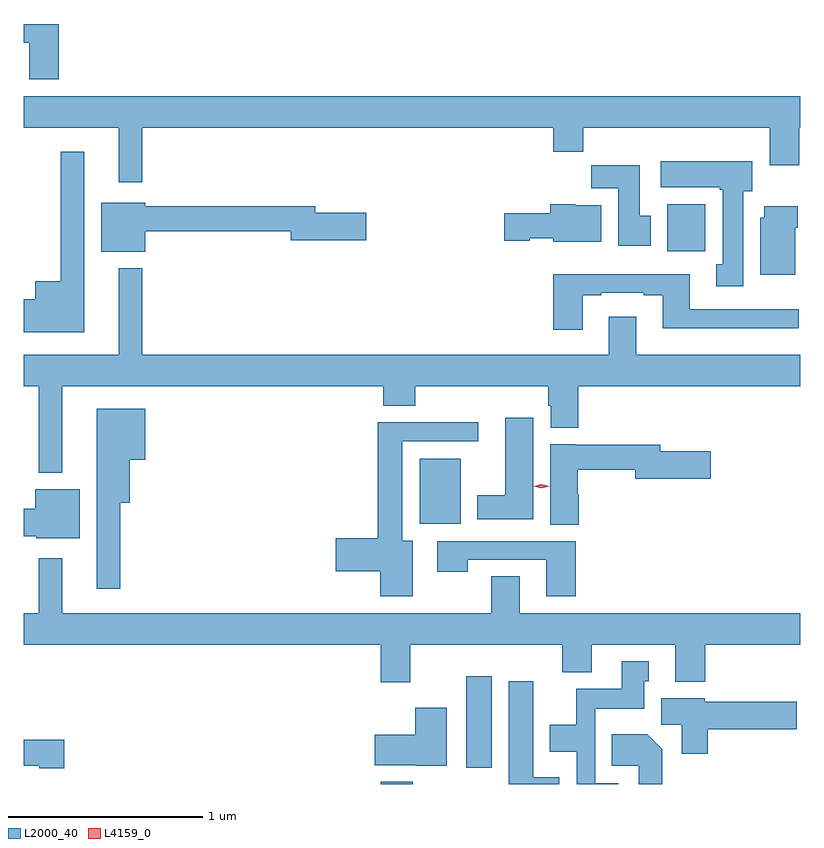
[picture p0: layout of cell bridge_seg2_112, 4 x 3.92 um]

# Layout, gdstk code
import gdstk
lib = gdstk.Library(unit=1e-6, precision=1e-09)
def R(c, l, rs):  # rectangles x0, y0, x1, y1
    for r in rs: c.add(gdstk.rectangle(r[:2], r[2:], *l))
def P(c, l, *ps):  # polygons
    for p in ps: c.add(gdstk.Polygon(p, *l))
L2000_40 = (2000, 40)
L4159_0 = (4159, 0)

bridge_seg2_112 = lib.new_cell('bridge_seg2_112')
R(bridge_seg2_112, L2000_40, [(590.495,637.595,590.66,637.606), (590.936,637.68,591.067,638.149), (590.696,638.936,590.908,639.271), (591.971,640.34,592.168,640.582)])
P(bridge_seg2_112, L2000_40, [(588.836,641.511),(588.656,641.511),(588.656,641.415),(588.683,641.415),(588.683,641.226),(588.836,641.226)],
  [(589.267,640.976),(591.383,640.976),(591.383,640.852),(591.539,640.852),(591.539,640.976),(592.499,640.976),(592.499,640.782),(592.652,640.782),(592.652,640.976),(592.656,640.976),(592.656,641.14),(588.656,641.14),(588.656,640.976),(589.145,640.976),(589.145,640.695),(589.267,640.695)],
  [(588.967,640.852),(588.846,640.852),(588.846,640.186),(588.716,640.186),(588.716,640.094),(588.656,640.094),(588.656,639.923),(588.967,639.923)],
  [(592.363,640.65),(592.408,640.65),(592.408,640.804),(591.939,640.804),(591.939,640.67),(592.243,640.67),(592.243,640.657),(592.256,640.657),(592.256,640.274),(592.223,640.274),(592.223,640.161),(592.363,640.161)],
  [(591.886,640.524),(591.829,640.524),(591.829,640.783),(591.58,640.783),(591.58,640.664),(591.719,640.664),(591.719,640.368),(591.886,640.368)],
  [(589.282,640.444),(590.03,640.444),(590.03,640.397),(590.419,640.397),(590.419,640.539),(590.158,640.539),(590.158,640.573),(589.282,640.573),(589.282,640.591),(589.055,640.591),(589.055,640.337),(589.282,640.337)],
  [(591.631,640.576),(591.498,640.576),(591.498,640.582),(591.368,640.582),(591.368,640.536),(591.132,640.536),(591.132,640.394),(591.264,640.394),(591.264,640.406),(591.384,640.406),(591.384,640.388),(591.631,640.388)],
  [(592.63,640.46),(592.643,640.46),(592.643,640.573),(592.472,640.573),(592.472,640.512),(592.451,640.512),(592.451,640.22),(592.63,640.22)],
  [(589.267,640.252),(589.145,640.252),(589.145,639.808),(588.656,639.808),(588.656,639.644),(588.732,639.644),(588.732,639.2),(588.853,639.2),(588.853,639.644),(590.507,639.644),(590.507,639.545),(590.672,639.545),(590.672,639.644),(591.359,639.644),(591.359,639.543),(591.371,639.543),(591.371,639.431),(591.512,639.431),(591.512,639.644),(592.656,639.644),(592.656,639.808),(591.811,639.808),(591.811,640.003),(591.671,640.003),(591.671,639.808),(589.267,639.808)],
  [(591.535,640.113),(591.631,640.113),(591.631,640.125),(591.851,640.125),(591.851,640.113),(591.947,640.113),(591.947,639.944),(592.648,639.944),(592.648,640.041),(592.087,640.041),(592.087,640.222),(591.383,640.222),(591.383,639.936),(591.535,639.936)],
  [(589.153,639.044),(589.202,639.044),(589.202,639.266),(589.282,639.266),(589.282,639.529),(589.031,639.529),(589.031,638.601),(589.153,638.601)],
  [(591.28,639.481),(591.137,639.481),(591.137,639.082),(590.993,639.082),(590.993,638.96),(591.28,638.96)],
  [(590.659,638.848),(590.605,638.848),(590.605,639.36),(590.998,639.36),(590.998,639.458),(590.48,639.458),(590.48,638.861),(590.262,638.861),(590.262,638.69),(590.492,638.69),(590.492,638.562),(590.659,638.562)],
  [(591.515,639.089),(591.51,639.089),(591.51,639.214),(591.806,639.214),(591.806,639.167),(592.195,639.167),(592.195,639.309),(591.934,639.309),(591.934,639.343),(591.498,639.343),(591.498,639.346),(591.368,639.346),(591.368,638.932),(591.515,638.932)],
  [(588.943,639.115),(588.716,639.115),(588.716,639.014),(588.656,639.014),(588.656,638.872),(588.72,638.872),(588.72,638.861),(588.943,638.861)],
  [(591.5,638.847),(590.787,638.847),(590.787,638.688),(590.943,638.688),(590.943,638.751),(591.347,638.751),(591.347,638.562),(591.5,638.562)],
  [(590.647,638.312),(591.431,638.312),(591.431,638.171),(591.583,638.171),(591.583,638.312),(592.013,638.312),(592.013,638.123),(592.166,638.123),(592.166,638.312),(592.656,638.312),(592.656,638.476),(591.211,638.476),(591.211,638.666),(591.064,638.666),(591.064,638.476),(588.853,638.476),(588.853,638.758),(588.732,638.758),(588.732,638.476),(588.656,638.476),(588.656,638.312),(590.495,638.312),(590.495,638.118),(590.647,638.118)],
  [(591.718,637.599),(591.6,637.599),(591.6,637.982),(591.853,637.982),(591.853,638.124),(591.877,638.124),(591.877,638.227),(591.737,638.227),(591.737,638.086),(591.502,638.086),(591.502,637.9),(591.365,637.9),(591.365,637.76),(591.504,637.76),(591.504,637.595),(591.718,637.595)],
  [(591.414,637.63),(591.28,637.63),(591.28,638.125),(591.155,638.125),(591.155,637.595),(591.414,637.595)],
  [(592.181,637.877),(592.639,637.877),(592.639,638.019),(592.164,638.019),(592.164,638.038),(591.941,638.038),(591.941,637.9),(592.046,637.9),(592.046,637.752),(592.181,637.752)],
  [(590.836,637.987),(590.672,637.987),(590.672,637.849),(590.463,637.849),(590.463,637.691),(590.676,637.691),(590.676,637.688),(590.836,637.688)],
  [(591.946,637.774),(591.868,637.852),(591.685,637.852),(591.685,637.688),(591.824,637.688),(591.824,637.595),(591.946,637.595)],
  [(588.865,637.823),(588.656,637.823),(588.656,637.688),(588.735,637.688),(588.735,637.676),(588.865,637.676)])
P(bridge_seg2_112, L4159_0, [(591.323,639.119),(591.283,639.128),(591.283,639.129),(591.283,639.129),(591.323,639.139),(591.363,639.129),(591.363,639.129),(591.363,639.128)])

lib.write_gds('bridge_seg2_112.gds')
